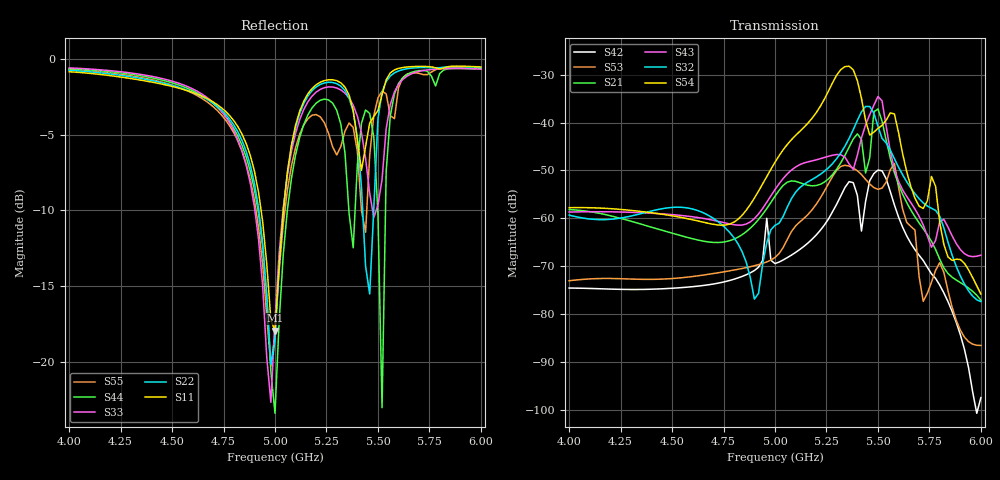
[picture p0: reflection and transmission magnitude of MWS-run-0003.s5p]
! TOUCHSTONE file generated by CST MICROWAVE STUDIO
! Date and time: Mon Aug  5 20:22:36 2024
! Project name: bowtieslot_array_result_MDMB.cst
! Parameters = {Le=90; Ls=2; Lu=9; W=60; Wbh=7; Wbl=0.5; ar=0.3; c1=6.5548; c10=-0.70356; c11=-2.6871; c12=-3.1742; c13=3.8877; c14=3.5377; c15=3.8577; c16=3.0014; c17=1.2156; c18=0.15159; c19=-6.8268; c2=-3.6807; c20=-5.8496; c21=-1.0114; c22=3.8286; c23=3.2249; c24=3.5308; c25=3.4718; c26=-0.75795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
! Header version: 2024
! Port assignment regex: !\s*Touchstone port\s*([0-9]+)\s*=\s*(CST MWS port|CST DES external port|CST DES block port)\s*(.+)\s* \(\"(.*)\"\)(\s*mode\s*([0-9]+))?.*
! Touchstone port assignment:
! Touchstone port 1 = CST MWS port 1 ("")
! Touchstone port 2 = CST MWS port 2 ("")
! Touchstone port 3 = CST MWS port 3 ("")
! Touchstone port 4 = CST MWS port 4 ("")
! Touchstone port 5 = CST MWS port 5 ("")
# GHz S MA R 50
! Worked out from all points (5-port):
!   101 points, 4 GHz to 6 GHz, reference 50 ohm
!   strongest paths, dB at 4 GHz, 4.5 GHz, 5 GHz, 5.5 GHz, 6 GHz:
!     S54: -57.8, -59.5, -48.3, -41.2, -75.8
!     S32: -59.3, -57.7, -61.5, -40.8, -77.4
!     S43: -58.7, -59.2, -54.0, -34.6, -67.7
!     S21: -58.2, -63.1, -55.4, -37.2, -77.1
!     S53: -73.0, -72.6, -68.2, -53.9, -86.5
!     S42: -74.5, -74.6, -69.4, -49.9, -97.4
!   lowest |S11| = -17.9 dB at 5 GHz (marker M1), VSWR 1.29, Z = 47.2 - j12.1 ohm
!   |S11| at or under -10 dB: 4.932 GHz to 5.041 GHz (108.2 MHz wide, 2.17 % of centre)
